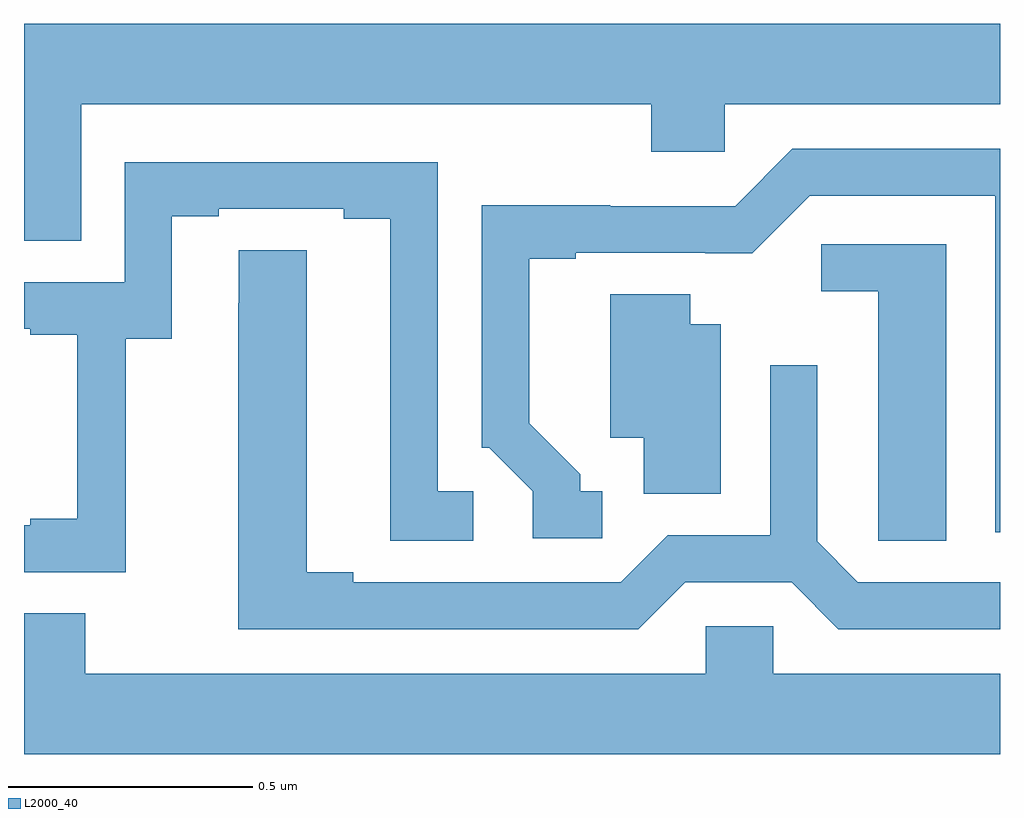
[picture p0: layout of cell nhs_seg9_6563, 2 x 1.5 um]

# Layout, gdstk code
import gdstk
lib = gdstk.Library(unit=1e-6, precision=1e-09)
def P(c, l, *ps):  # polygons
    for p in ps: c.add(gdstk.Polygon(p, *l))
L2000_40 = (2000, 40)

nhs_seg9_6563 = lib.new_cell('nhs_seg9_6563')
P(nhs_seg9_6563, L2000_40, [(193.117,1231.052),(194.285,1231.052),(194.285,1230.954),(194.436,1230.954),(194.436,1231.052),(195,1231.052),(195,1231.216),(193,1231.216),(193,1230.772),(193.117,1230.772)],
  [(194.185,1230.258),(194.14,1230.258),(194.14,1230.293),(194.035,1230.398),(194.035,1230.735),(194.131,1230.735),(194.131,1230.747),(194.396,1230.747),(194.396,1230.746),(194.492,1230.746),(194.61,1230.864),(194.99,1230.864),(194.99,1230.174),(195,1230.174),(195,1230.96),(194.574,1230.96),(194.457,1230.843),(194.201,1230.843),(194.201,1230.845),(193.938,1230.845),(193.938,1230.348),(193.953,1230.348),(194.043,1230.258),(194.043,1230.162),(194.185,1230.162)],
  [(193.209,1230.571),(193.303,1230.571),(193.303,1230.822),(193.399,1230.822),(193.399,1230.837),(193.655,1230.837),(193.655,1230.817),(193.751,1230.817),(193.751,1230.157),(193.921,1230.157),(193.921,1230.258),(193.848,1230.258),(193.848,1230.933),(193.206,1230.933),(193.206,1230.687),(193,1230.687),(193,1230.591),(193.013,1230.591),(193.013,1230.579),(193.109,1230.579),(193.109,1230.202),(193.013,1230.202),(193.013,1230.189),(193,1230.189),(193,1230.093),(193.209,1230.093)],
  [(194.89,1230.765),(194.634,1230.765),(194.634,1230.668),(194.75,1230.668),(194.75,1230.265),(194.751,1230.265),(194.751,1230.157),(194.89,1230.157)],
  [(194.355,1230.072),(194.573,1230.072),(194.669,1229.976),(195,1229.976),(195,1230.072),(194.709,1230.072),(194.625,1230.156),(194.625,1230.517),(194.529,1230.517),(194.529,1230.168),(194.319,1230.168),(194.223,1230.072),(193.675,1230.072),(193.675,1230.092),(193.579,1230.092),(193.579,1230.752),(193.44,1230.752),(193.44,1230.644),(193.439,1230.644),(193.439,1229.976),(194.259,1229.976)],
  [(194.428,1230.601),(194.365,1230.601),(194.365,1230.662),(194.201,1230.662),(194.201,1230.368),(194.27,1230.368),(194.27,1230.253),(194.428,1230.253)],
  [(195,1229.884),(194.535,1229.884),(194.535,1229.982),(194.397,1229.982),(194.397,1229.884),(193.125,1229.884),(193.125,1230.008),(193,1230.008),(193,1229.72),(195,1229.72)])

lib.write_gds('nhs_seg9_6563.gds')
